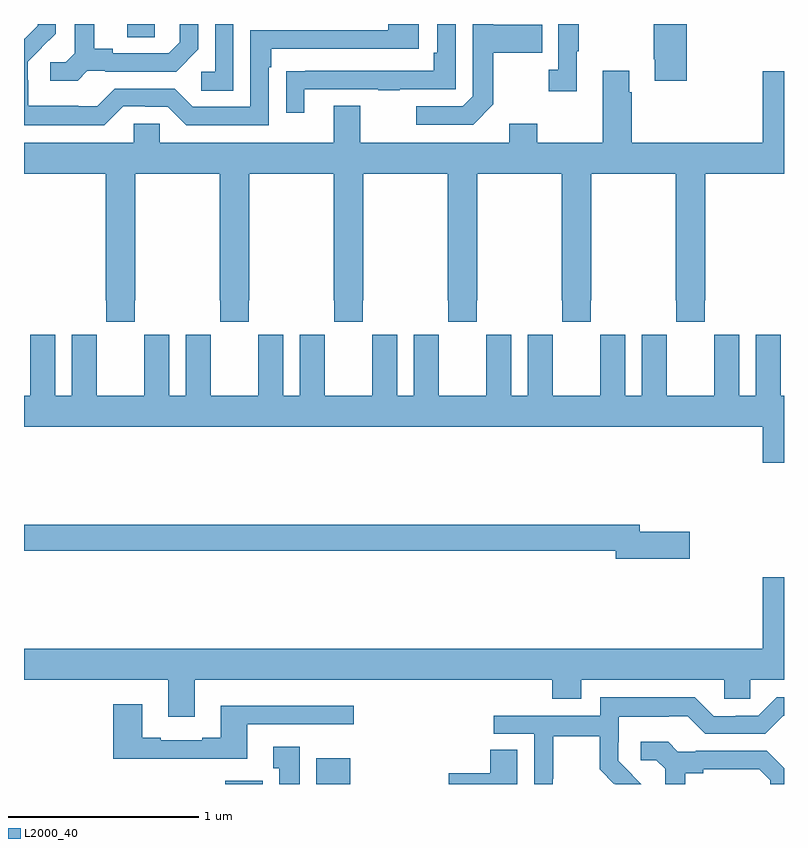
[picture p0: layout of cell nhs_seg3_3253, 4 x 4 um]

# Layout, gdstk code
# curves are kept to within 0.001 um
import gdstk
lib = gdstk.Library(unit=1e-6, precision=1e-09)
def R(c, l, rs):  # rectangles x0, y0, x1, y1
    for r in rs: c.add(gdstk.rectangle(r[:2], r[2:], *l))
def P(c, l, *ps):  # polygons
    for p in ps: c.add(gdstk.Polygon(p, *l))
L2000_40 = (2000, 40)

nhs_seg3_3253 = lib.new_cell('nhs_seg3_3253')
R(nhs_seg3_3253, L2000_40, [(282.059,668.4,282.256,668.416), (282.539,668.4,282.718,668.536), (281.543,672.331,281.688,672.4)])
P(nhs_seg3_3253, L2000_40, [(282.475,672.057),(282.865,672.057),(282.865,672.052),(282.977,672.052),(282.977,672.057),(283.272,672.057),(283.272,672.4),(283.176,672.4),(283.176,672.25),(283.156,672.25),(283.156,672.153),(282.481,672.153),(282.481,672.152),(282.379,672.152),(282.379,671.934),(282.475,671.934)],
  [(281.523,671.967),(281.639,671.967),(281.639,671.964),(281.757,671.964),(281.853,671.868),(282.288,671.868),(282.288,672.173),(282.301,672.173),(282.301,672.27),(283.078,672.27),(283.078,672.4),(282.917,672.4),(282.917,672.366),(282.192,672.366),(282.192,671.964),(281.889,671.964),(281.793,672.06),(281.478,672.06),(281.385,671.967),(281.285,671.967),(281.285,671.971),(281.022,671.971),(281.022,672.105),(281.02,672.105),(281.02,672.202),(281.166,672.35),(281.166,672.4),(281.072,672.4),(281.072,672.392),(281.001,672.321),(281,672.322),(281,671.867),(281.423,671.867)],
  [(283.909,672.257),(283.921,672.257),(283.921,672.4),(283.812,672.4),(283.812,672.158),(283.761,672.158),(283.761,672.045),(283.909,672.045)],
  [(284.489,672.4),(284.314,672.4),(284.314,672.214),(284.321,672.214),(284.321,672.102),(284.489,672.102)],
  [(281.334,672.153),(281.428,672.153),(281.428,672.15),(281.8,672.15),(281.916,672.266),(281.916,672.4),(281.819,672.4),(281.819,672.303),(281.762,672.246),(281.467,672.246),(281.467,672.269),(281.371,672.269),(281.371,672.4),(281.267,672.4),(281.267,672.245),(281.22,672.198),(281.139,672.198),(281.139,672.101),(281.282,672.101)],
  [(282.102,672.4),(282.006,672.4),(282.006,672.15),(281.934,672.15),(281.934,672.049),(282.102,672.049)],
  [(283.471,671.977),(283.471,672.25),(283.727,672.25),(283.727,672.397),(283.471,672.397),(283.471,672.4),(283.362,672.4),(283.362,672.021),(283.308,671.967),(283.065,671.967),(283.065,671.871),(283.365,671.871)],
  [(281.583,670.945),(281.586,670.945),(281.586,671.612),(282.031,671.612),(282.031,670.945),(282.033,670.945),(282.033,670.833),(282.183,670.833),(282.183,670.945),(282.186,670.945),(282.186,671.612),(282.631,671.612),(282.631,670.945),(282.633,670.945),(282.633,670.833),(282.783,670.833),(282.783,670.945),(282.786,670.945),(282.786,671.612),(283.231,671.612),(283.231,670.945),(283.233,670.945),(283.233,670.833),(283.383,670.833),(283.383,670.945),(283.386,670.945),(283.386,671.612),(283.831,671.612),(283.831,670.945),(283.833,670.945),(283.833,670.833),(283.983,670.833),(283.983,670.945),(283.986,670.945),(283.986,671.612),(284.431,671.612),(284.431,670.945),(284.433,670.945),(284.433,670.833),(284.583,670.833),(284.583,670.945),(284.586,670.945),(284.586,671.612),(285,671.612),(285,672.151),(284.888,672.151),(284.888,671.776),(284.198,671.776),(284.198,672.041),(284.185,672.041),(284.185,672.154),(284.045,672.154),(284.045,671.776),(283.701,671.776),(283.701,671.875),(283.553,671.875),(283.553,671.776),(282.769,671.776),(282.769,671.971),(282.629,671.971),(282.629,671.776),(281.715,671.776),(281.715,671.874),(281.577,671.874),(281.577,671.776),(281,671.776),(281,671.612),(281.431,671.612),(281.431,670.945),(281.433,670.945),(281.433,670.833),(281.583,670.833)],
  [(285,670.444),(284.983,670.444),(284.983,670.652),(284.982,670.652),(284.982,670.765),(284.852,670.765),(284.852,670.444),(284.764,670.444),(284.764,670.765),(284.634,670.765),(284.634,670.652),(284.633,670.652),(284.633,670.444),(284.383,670.444),(284.383,670.652),(284.382,670.652),(284.382,670.765),(284.252,670.765),(284.252,670.444),(284.164,670.444),(284.164,670.765),(284.034,670.765),(284.034,670.652),(284.033,670.652),(284.033,670.444),(283.783,670.444),(283.783,670.652),(283.782,670.652),(283.782,670.765),(283.652,670.765),(283.652,670.444),(283.564,670.444),(283.564,670.765),(283.434,670.765),(283.434,670.652),(283.433,670.652),(283.433,670.444),(283.183,670.444),(283.183,670.652),(283.182,670.652),(283.182,670.765),(283.052,670.765),(283.052,670.444),(282.964,670.444),(282.964,670.765),(282.834,670.765),(282.834,670.652),(282.833,670.652),(282.833,670.444),(282.583,670.444),(282.583,670.652),(282.582,670.652),(282.582,670.765),(282.452,670.765),(282.452,670.444),(282.364,670.444),(282.364,670.765),(282.234,670.765),(282.234,670.652),(282.233,670.652),(282.233,670.444),(281.983,670.444),(281.983,670.652),(281.982,670.652),(281.982,670.765),(281.852,670.765),(281.852,670.444),(281.764,670.444),(281.764,670.765),(281.634,670.765),(281.634,670.652),(281.633,670.652),(281.633,670.444),(281.383,670.444),(281.383,670.652),(281.382,670.652),(281.382,670.765),(281.252,670.765),(281.252,670.444),(281.164,670.444),(281.164,670.765),(281.034,670.765),(281.034,670.652),(281.033,670.652),(281.033,670.444),(281,670.444),(281,670.28),(284.888,670.28),(284.888,670.092),(285,670.092)],
  [(284.503,669.728),(284.242,669.728),(284.242,669.764),(281,669.764),(281,669.628),(284.114,669.628),(284.114,669.586),(284.503,669.586)],
  [(281.899,668.948),(283.781,668.948),(283.781,668.849),(283.933,668.849),(283.933,668.948),(284.685,668.948),(284.685,668.85),(284.823,668.85),(284.823,668.948),(285,668.948),(285,669.487),(284.888,669.487),(284.888,669.112),(281,669.112),(281,668.948),(281.759,668.948),(281.759,668.754),(281.899,668.754)],
  [(283.782,668.428),(283.785,668.428),(283.785,668.652),(284.029,668.652),(284.029,668.477),(284.106,668.4),(284.109,668.403),(284.112,668.4),(284.248,668.4),(284.128,668.522),(284.128,668.619),(284.13,668.619),(284.13,668.753),(284.393,668.753),(284.393,668.757),(284.493,668.757),(284.586,668.664),(284.901,668.664),(284.997,668.76),(285,668.76),(285,668.856),(284.961,668.856),(284.865,668.76),(284.747,668.76),(284.747,668.757),(284.631,668.757),(284.531,668.857),(284.034,668.857),(284.034,668.76),(283.473,668.76),(283.473,668.664),(283.686,668.664),(283.686,668.4),(283.782,668.4)],
  [(282.175,668.715),(282.736,668.715),(282.736,668.812),(282.035,668.812),(282.035,668.644),(281.939,668.644),(281.939,668.631),(281.719,668.631),(281.719,668.644),(281.623,668.644),(281.623,668.821),(281.471,668.821),(281.471,668.534),(282.175,668.534)],
  [(284.479,668.456),(284.575,668.456),(284.575,668.478),(284.87,668.478),(284.927,668.421),(284.927,668.4),(285,668.4),(285,668.482),(284.908,668.574),(284.536,668.574),(284.536,668.571),(284.442,668.571),(284.39,668.623),(284.247,668.623),(284.247,668.526),(284.328,668.526),(284.375,668.479),(284.375,668.4),(284.479,668.4)],
  [(282.451,668.596),(282.311,668.596),(282.311,668.483),(282.344,668.483),(282.344,668.4),(282.451,668.4)],
  [(283.597,668.579),(283.454,668.579),(283.454,668.456),(283.236,668.456),(283.236,668.4),(283.597,668.4)])

lib.write_gds('nhs_seg3_3253.gds')
